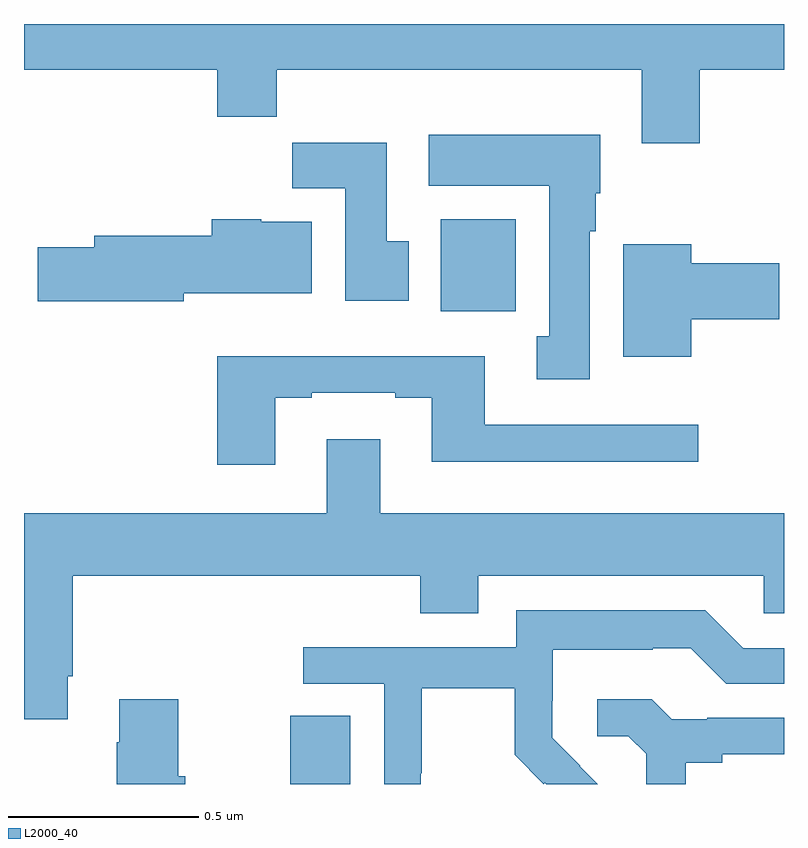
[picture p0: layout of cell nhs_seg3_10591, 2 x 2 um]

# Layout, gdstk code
import gdstk
lib = gdstk.Library(unit=1e-6, precision=1e-09)
def R(c, l, rs):  # rectangles x0, y0, x1, y1
    for r in rs: c.add(gdstk.rectangle(r[:2], r[2:], *l))
def P(c, l, *ps):  # polygons
    for p in ps: c.add(gdstk.Polygon(p, *l))
L2000_40 = (2000, 40)

nhs_seg3_10591 = lib.new_cell('nhs_seg3_10591')
R(nhs_seg3_10591, L2000_40, [(243.701,668.4,243.859,668.579), (244.097,669.644,244.294,669.886)])
P(nhs_seg3_10591, L2000_40, [(244.778,670.28),(245,670.28),(245,670.4),(243,670.4),(243,670.28),(243.509,670.28),(243.509,670.156),(243.665,670.156),(243.665,670.28),(244.625,670.28),(244.625,670.086),(244.778,670.086)],
  [(244.489,669.854),(244.504,669.854),(244.504,669.954),(244.516,669.954),(244.516,670.108),(244.065,670.108),(244.065,669.974),(244.382,669.974),(244.382,669.578),(244.349,669.578),(244.349,669.465),(244.489,669.465)],
  [(244.012,669.828),(243.955,669.828),(243.955,670.087),(243.706,670.087),(243.706,669.968),(243.845,669.968),(243.845,669.672),(244.012,669.672)],
  [(243.42,669.692),(243.757,669.692),(243.757,669.88),(243.624,669.88),(243.624,669.886),(243.494,669.886),(243.494,669.843),(243.185,669.843),(243.185,669.813),(243.036,669.813),(243.036,669.671),(243.42,669.671)],
  [(244.756,669.623),(244.987,669.623),(244.987,669.77),(244.756,669.77),(244.756,669.82),(244.577,669.82),(244.577,669.524),(244.756,669.524)],
  [(243.661,669.417),(243.757,669.417),(243.757,669.429),(243.977,669.429),(243.977,669.417),(244.073,669.417),(244.073,669.248),(244.774,669.248),(244.774,669.345),(244.213,669.345),(244.213,669.526),(243.509,669.526),(243.509,669.24),(243.661,669.24)],
  [(243.115,668.683),(243.128,668.683),(243.128,668.948),(244.043,668.948),(244.043,668.849),(244.195,668.849),(244.195,668.948),(244.947,668.948),(244.947,668.85),(245,668.85),(245,669.112),(243.937,669.112),(243.937,669.307),(243.797,669.307),(243.797,669.112),(243,669.112),(243,668.571),(243.115,668.571)],
  [(244.044,668.428),(244.047,668.428),(244.047,668.652),(244.291,668.652),(244.291,668.477),(244.368,668.4),(244.371,668.403),(244.374,668.4),(244.51,668.4),(244.463,668.447),(244.464,668.448),(244.39,668.522),(244.39,668.619),(244.392,668.619),(244.392,668.753),(244.655,668.753),(244.655,668.757),(244.755,668.757),(244.848,668.664),(245,668.664),(245,668.757),(244.893,668.757),(244.793,668.857),(244.296,668.857),(244.296,668.76),(243.735,668.76),(243.735,668.664),(243.948,668.664),(243.948,668.4),(244.044,668.4)],
  [(244.741,668.456),(244.837,668.456),(244.837,668.478),(245,668.478),(245,668.574),(244.798,668.574),(244.798,668.571),(244.704,668.571),(244.652,668.623),(244.509,668.623),(244.509,668.526),(244.59,668.526),(244.637,668.479),(244.637,668.4),(244.741,668.4)],
  [(243.424,668.421),(243.406,668.421),(243.406,668.623),(243.251,668.623),(243.251,668.51),(243.244,668.51),(243.244,668.4),(243.424,668.4)])

lib.write_gds('nhs_seg3_10591.gds')
